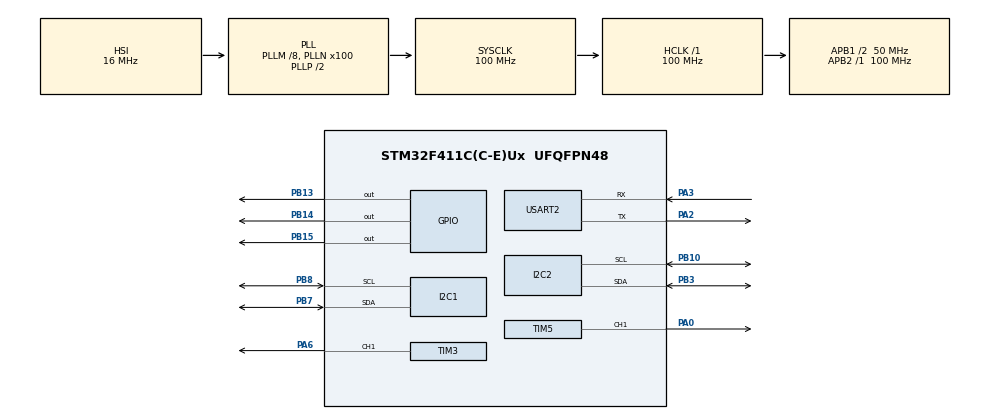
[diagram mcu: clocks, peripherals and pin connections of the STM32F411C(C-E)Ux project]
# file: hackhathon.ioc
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Mcu.Family=STM32F4
Mcu.Name=STM32F411C(C-E)Ux
Mcu.Package=UFQFPN48
NVIC.PriorityGroup=NVIC_PRIORITYGROUP_4
NVIC.TIM2_IRQn=true\:0\:0\:false\:false\:true\:true\:true\:true
PA0-WKUP.Signal=S_TIM5_CH1
PA2.Mode=Asynchronous
PA2.Signal=USART2_TX
PA3.Mode=Asynchronous
PA3.Signal=USART2_RX
PA6.Signal=S_TIM3_CH1
PB10.Mode=I2C
PB10.Signal=I2C2_SCL
PB13.Signal=GPIO_Output
PB14.Signal=GPIO_Output
PB15.Signal=GPIO_Output
PB3.Mode=I2C
PB3.Signal=I2C2_SDA
PB7.Mode=I2C
PB7.Signal=I2C1_SDA
PB8.Mode=I2C
PB8.Signal=I2C1_SCL
ProjectManager.HeapSize=0x200
ProjectManager.StackSize=0x400
ProjectManager.TargetToolchain=STM32CubeIDE
RCC.48MHZClocksFreq_Value=50000000
RCC.AHBFreq_Value=100000000
RCC.APB1CLKDivider=RCC_HCLK_DIV2
RCC.APB1Freq_Value=50000000
RCC.APB1TimFreq_Value=100000000
RCC.APB2Freq_Value=100000000
RCC.APB2TimFreq_Value=100000000
RCC.CortexFreq_Value=100000000
RCC.HCLKFreq_Value=100000000
RCC.HSE_VALUE=25000000
RCC.HSI_VALUE=16000000
RCC.LSE_VALUE=32768
RCC.PLLM=8
RCC.PLLN=100
RCC.SYSCLKFreq_VALUE=100000000
RCC.SYSCLKSource=RCC_SYSCLKSOURCE_PLLCLK
RCC.VCOOutputFreq_Value=200000000
SH.S_TIM3_CH1.0=TIM3_CH1,PWM Generation1 CH1
SH.S_TIM5_CH1.0=TIM5_CH1,PWM Generation1 CH1
TIM2.Period=124
TIM2.Prescaler=999
TIM3.Channel-PWM\ Generation1\ CH1=TIM_CHANNEL_1
TIM3.Period=20000-1
TIM3.Prescaler=49999
TIM5.Channel-PWM\ Generation1\ CH1=TIM_CHANNEL_1
TIM5.Period=19999
TIM5.Prescaler=49999
USART2.VirtualMode=VM_ASYNC
VP_TIM2_VS_ClockSourceINT.Mode=Internal
VP_TIM3_VS_ClockSourceINT.Mode=Internal
VP_TIM5_VS_ClockSourceINT.Mode=Internal
board=custom

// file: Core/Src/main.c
/* USER CODE BEGIN Header */
/**
  ******************************************************************************
  * @file           : main.c
  * @brief          : Main program body
  ******************************************************************************
  * @attention
  *
  * Copyright (c) 2024 STMicroelectronics.
  * All rights reserved.
  *
  * This software is licensed under terms that can be found in the LICENSE file
  * in the root directory of this software component.
  * If no LICENSE file comes with this software, it is provided AS-IS.
  *
  ******************************************************************************
  */
/* USER CODE END Header */
#include "main.h"

/* USER CODE BEGIN Includes */
#include "lsm303c_headers.h"
#include "VL6180X.h"

/* USER CODE END Includes */

/* USER CODE BEGIN PD */
#define ACC_ADDR  (0b0011101 << 1)

#define MAG_ADDR (0b0011110 << 1)

#define MEDIAN_FILTER_LENGTH 5
#define ACCELOMETER_THRESHOLD 6000
/* USER CODE END PD */

I2C_HandleTypeDef hi2c1;
I2C_HandleTypeDef hi2c2;

TIM_HandleTypeDef htim2;
TIM_HandleTypeDef htim3;
TIM_HandleTypeDef htim5;

UART_HandleTypeDef huart2;

/* USER CODE BEGIN PV */
volatile int16_t x_acc_val, y_acc_val, z_acc_val;
enum Skibidibi_States{
	NORMAL=1,
	FALLEN=2,
	ALARM=3,
};
static int fallen_enter_time=0;
static int current_program_time=0;
static enum Skibidibi_States STATE=NORMAL;

/* USER CODE END PV */

void SystemClock_Config(void);
static void MX_GPIO_Init(void);
static void MX_I2C1_Init(void);
static void MX_USART2_UART_Init(void);
static void MX_TIM2_Init(void);
static void MX_TIM5_Init(void);
static void MX_I2C2_Init(void);
static void MX_TIM3_Init(void);
/* USER CODE BEGIN PFP */
void read_accelerator(int16_t* x_acc, int16_t* y_acc, int16_t* z_acc);
void set_buzzer_tone(uint16_t tone);
void set_pwm_frequency(uint32_t frequency);
void set_diode_frequency(int frequency,int pwm_width);
void calculate_fall_from_acc();
/* USER CODE END PFP */

int main(void)
{

  /* MCU Configuration--------------------------------------------------------*/

  /* Reset of all peripherals, Initializes the Flash interface and the Systick. */
  HAL_Init();

  /* Configure the system clock */
  SystemClock_Config();

  /* Initialize all configured peripherals */
  MX_GPIO_Init();
  MX_I2C1_Init();
  MX_USART2_UART_Init();
  MX_TIM2_Init();
  MX_TIM5_Init();
  MX_I2C2_Init();
  MX_TIM3_Init();

  /* Infinite loop */
  /* USER CODE BEGIN WHILE */
  //start conversion
  uint8_t start_conversion_reg = 0b01100111;
  HAL_I2C_Mem_Write(&hi2c1, ACC_ADDR, LSM303C_CTRL_REG1_A, 1, &start_conversion_reg, 1, HAL_MAX_DELAY);
  //initialize distance
  VL6180X_Init(&hi2c2);
  while (1)
  {
	  HAL_Delay(50);
	  read_accelerator((int16_t*)&x_acc_val, (int16_t*)&y_acc_val, (int16_t*)&z_acc_val);
	  uint8_t msg[100];
	  uint16_t msg_len = sprintf((char*)msg, "X:%d, Y:%d, Z:%d\n\r", x_acc_val, y_acc_val, z_acc_val);
	  HAL_UART_Transmit(&huart2, (uint8_t*)msg, msg_len, 1000);
	  current_program_time=HAL_GetTick();
//	  set_diode_frequency(3,90);
//	  for( int i=0;i<100;i++){
//		  set_diode_frequency(4,i);
//		  HAL_Delay(50);
//	  }

	  calculate_fall_from_acc();
	  if (STATE==NORMAL){
		  uint16_t msg_len2 = sprintf((char*)msg, "STATE: NORMAL  \r\n");
		  HAL_UART_Transmit(&huart2, (uint8_t*)msg, msg_len2, 1000);
	  }
	  if (STATE==FALLEN){
		  uint16_t msg_len2 = sprintf((char*)msg, "STATE: FALLEN \r\n");
		  HAL_UART_Transmit(&huart2, (uint8_t*)msg, msg_len2, 1000);
	  }

	  if (STATE==ALARM){
		  uint16_t msg_len2 = sprintf((char*)msg, "STATE: ALARM \r\n");
		  HAL_UART_Transmit(&huart2, (uint8_t*)msg, msg_len2, 1000);
	  }

	  if ((STATE==FALLEN)&&((current_program_time-fallen_enter_time)>10000)){
		  STATE=ALARM;
	  }

	  if (STATE==NORMAL){
		  set_diode_frequency(1,10);
		  //set_buzzer_tone(60);
	  }

	  if (STATE==ALARM){
		  set_diode_frequency(10,50);
		  //set_buzzer_tone(60);
	  }

    /* USER CODE END WHILE */

  }
}

void SystemClock_Config(void)
{
  RCC_OscInitTypeDef RCC_OscInitStruct = {0};
  RCC_ClkInitTypeDef RCC_ClkInitStruct = {0};

  /** Configure the main internal regulator output voltage
  */
  __HAL_RCC_PWR_CLK_ENABLE();
  __HAL_PWR_VOLTAGESCALING_CONFIG(PWR_REGULATOR_VOLTAGE_SCALE1);

  /** Initializes the RCC Oscillators according to the specified parameters
  * in the RCC_OscInitTypeDef structure.
  */
  RCC_OscInitStruct.OscillatorType = RCC_OSCILLATORTYPE_HSI;
  RCC_OscInitStruct.HSIState = RCC_HSI_ON;
  RCC_OscInitStruct.HSICalibrationValue = RCC_HSICALIBRATION_DEFAULT;
  RCC_OscInitStruct.PLL.PLLState = RCC_PLL_ON;
  RCC_OscInitStruct.PLL.PLLSource = RCC_PLLSOURCE_HSI;
  RCC_OscInitStruct.PLL.PLLM = 8;
  RCC_OscInitStruct.PLL.PLLN = 100;
  RCC_OscInitStruct.PLL.PLLP = RCC_PLLP_DIV2;
  RCC_OscInitStruct.PLL.PLLQ = 4;
  if (HAL_RCC_OscConfig(&RCC_OscInitStruct) != HAL_OK)
  {
    Error_Handler();
  }

  /** Initializes the CPU, AHB and APB buses clocks
  */
  RCC_ClkInitStruct.ClockType = RCC_CLOCKTYPE_HCLK|RCC_CLOCKTYPE_SYSCLK
                              |RCC_CLOCKTYPE_PCLK1|RCC_CLOCKTYPE_PCLK2;
  RCC_ClkInitStruct.SYSCLKSource = RCC_SYSCLKSOURCE_PLLCLK;
  RCC_ClkInitStruct.AHBCLKDivider = RCC_SYSCLK_DIV1;
  RCC_ClkInitStruct.APB1CLKDivider = RCC_HCLK_DIV2;
  RCC_ClkInitStruct.APB2CLKDivider = RCC_HCLK_DIV1;

  if (HAL_RCC_ClockConfig(&RCC_ClkInitStruct, FLASH_LATENCY_3) != HAL_OK)
  {
    Error_Handler();
  }
}

static void MX_I2C1_Init(void)
{

  hi2c1.Instance = I2C1;
  hi2c1.Init.ClockSpeed = 100000;
  hi2c1.Init.DutyCycle = I2C_DUTYCYCLE_2;
  hi2c1.Init.OwnAddress1 = 0;
  hi2c1.Init.AddressingMode = I2C_ADDRESSINGMODE_7BIT;
  hi2c1.Init.DualAddressMode = I2C_DUALADDRESS_DISABLE;
  hi2c1.Init.OwnAddress2 = 0;
  hi2c1.Init.GeneralCallMode = I2C_GENERALCALL_DISABLE;
  hi2c1.Init.NoStretchMode = I2C_NOSTRETCH_DISABLE;
  if (HAL_I2C_Init(&hi2c1) != HAL_OK)
  {
    Error_Handler();
  }

}

static void MX_I2C2_Init(void)
{

  hi2c2.Instance = I2C2;
  hi2c2.Init.ClockSpeed = 100000;
  hi2c2.Init.DutyCycle = I2C_DUTYCYCLE_2;
  hi2c2.Init.OwnAddress1 = 0;
  hi2c2.Init.AddressingMode = I2C_ADDRESSINGMODE_7BIT;
  hi2c2.Init.DualAddressMode = I2C_DUALADDRESS_DISABLE;
  hi2c2.Init.OwnAddress2 = 0;
  hi2c2.Init.GeneralCallMode = I2C_GENERALCALL_DISABLE;
  hi2c2.Init.NoStretchMode = I2C_NOSTRETCH_DISABLE;
  if (HAL_I2C_Init(&hi2c2) != HAL_OK)
  {
    Error_Handler();
  }

}

static void MX_TIM2_Init(void)
{

  TIM_ClockConfigTypeDef sClockSourceConfig = {0};
  TIM_MasterConfigTypeDef sMasterConfig = {0};

  htim2.Instance = TIM2;
  htim2.Init.Prescaler = 999;
  htim2.Init.CounterMode = TIM_COUNTERMODE_UP;
  htim2.Init.Period = 124;
  htim2.Init.ClockDivision = TIM_CLOCKDIVISION_DIV1;
  htim2.Init.AutoReloadPreload = TIM_AUTORELOAD_PRELOAD_DISABLE;
  if (HAL_TIM_Base_Init(&htim2) != HAL_OK)
  {
    Error_Handler();
  }
  sClockSourceConfig.ClockSource = TIM_CLOCKSOURCE_INTERNAL;
  if (HAL_TIM_ConfigClockSource(&htim2, &sClockSourceConfig) != HAL_OK)
  {
    Error_Handler();
  }
  sMasterConfig.MasterOutputTrigger = TIM_TRGO_RESET;
  sMasterConfig.MasterSlaveMode = TIM_MASTERSLAVEMODE_DISABLE;
  if (HAL_TIMEx_MasterConfigSynchronization(&htim2, &sMasterConfig) != HAL_OK)
  {
    Error_Handler();
  }

}

static void MX_TIM3_Init(void)
{

  TIM_ClockConfigTypeDef sClockSourceConfig = {0};
  TIM_MasterConfigTypeDef sMasterConfig = {0};
  TIM_OC_InitTypeDef sConfigOC = {0};

  htim3.Instance = TIM3;
  htim3.Init.Prescaler = 49999*2;
  htim3.Init.CounterMode = TIM_COUNTERMODE_UP;
  htim3.Init.Period = 20000-1;
  htim3.Init.ClockDivision = TIM_CLOCKDIVISION_DIV1;
  htim3.Init.AutoReloadPreload = TIM_AUTORELOAD_PRELOAD_DISABLE;
  if (HAL_TIM_Base_Init(&htim3) != HAL_OK)
  {
    Error_Handler();
  }
  sClockSourceConfig.ClockSource = TIM_CLOCKSOURCE_INTERNAL;
  if (HAL_TIM_ConfigClockSource(&htim3, &sClockSourceConfig) != HAL_OK)
  {
    Error_Handler();
  }
  if (HAL_TIM_PWM_Init(&htim3) != HAL_OK)
  {
    Error_Handler();
  }
  sMasterConfig.MasterOutputTrigger = TIM_TRGO_RESET;
  sMasterConfig.MasterSlaveMode = TIM_MASTERSLAVEMODE_DISABLE;
  if (HAL_TIMEx_MasterConfigSynchronization(&htim3, &sMasterConfig) != HAL_OK)
  {
    Error_Handler();
  }
  sConfigOC.OCMode = TIM_OCMODE_PWM1;
  sConfigOC.Pulse = 0;
  sConfigOC.OCPolarity = TIM_OCPOLARITY_HIGH;
  sConfigOC.OCFastMode = TIM_OCFAST_DISABLE;
  if (HAL_TIM_PWM_ConfigChannel(&htim3, &sConfigOC, TIM_CHANNEL_1) != HAL_OK)
  {
    Error_Handler();
  }
  HAL_TIM_MspPostInit(&htim3);

}

static void MX_TIM5_Init(void)
{

  TIM_ClockConfigTypeDef sClockSourceConfig = {0};
  TIM_MasterConfigTypeDef sMasterConfig = {0};
  TIM_OC_InitTypeDef sConfigOC = {0};

  htim5.Instance = TIM5;
  htim5.Init.Prescaler = 49999;
  htim5.Init.CounterMode = TIM_COUNTERMODE_UP;
  htim5.Init.Period = 19999;
  htim5.Init.ClockDivision = TIM_CLOCKDIVISION_DIV1;
  htim5.Init.AutoReloadPreload = TIM_AUTORELOAD_PRELOAD_DISABLE;
  if (HAL_TIM_Base_Init(&htim5) != HAL_OK)
  {
    Error_Handler();
  }
  sClockSourceConfig.ClockSource = TIM_CLOCKSOURCE_INTERNAL;
  if (HAL_TIM_ConfigClockSource(&htim5, &sClockSourceConfig) != HAL_OK)
  {
    Error_Handler();
  }
  if (HAL_TIM_PWM_Init(&htim5) != HAL_OK)
  {
    Error_Handler();
  }
  sMasterConfig.MasterOutputTrigger = TIM_TRGO_RESET;
  sMasterConfig.MasterSlaveMode = TIM_MASTERSLAVEMODE_DISABLE;
  if (HAL_TIMEx_MasterConfigSynchronization(&htim5, &sMasterConfig) != HAL_OK)
  {
    Error_Handler();
  }
  sConfigOC.OCMode = TIM_OCMODE_PWM1;
  sConfigOC.Pulse = 0;
  sConfigOC.OCPolarity = TIM_OCPOLARITY_HIGH;
  sConfigOC.OCFastMode = TIM_OCFAST_DISABLE;
  if (HAL_TIM_PWM_ConfigChannel(&htim5, &sConfigOC, TIM_CHANNEL_1) != HAL_OK)
  {
    Error_Handler();
  }
  HAL_TIM_MspPostInit(&htim5);

}

static void MX_USART2_UART_Init(void)
{

  huart2.Instance = USART2;
  huart2.Init.BaudRate = 115200;
  huart2.Init.WordLength = UART_WORDLENGTH_8B;
  huart2.Init.StopBits = UART_STOPBITS_1;
  huart2.Init.Parity = UART_PARITY_NONE;
  huart2.Init.Mode = UART_MODE_TX_RX;
  huart2.Init.HwFlowCtl = UART_HWCONTROL_NONE;
  huart2.Init.OverSampling = UART_OVERSAMPLING_16;
  if (HAL_UART_Init(&huart2) != HAL_OK)
  {
    Error_Handler();
  }

}

static void MX_GPIO_Init(void)
{
  GPIO_InitTypeDef GPIO_InitStruct = {0};

  /* GPIO Ports Clock Enable */
  __HAL_RCC_GPIOA_CLK_ENABLE();
  __HAL_RCC_GPIOB_CLK_ENABLE();

  /*Configure GPIO pin Output Level */
  HAL_GPIO_WritePin(GPIOB, GPIO_PIN_13|GPIO_PIN_14|GPIO_PIN_15, GPIO_PIN_RESET);

  /*Configure GPIO pins : PB13 PB14 PB15 */
  GPIO_InitStruct.Pin = GPIO_PIN_13|GPIO_PIN_14|GPIO_PIN_15;
  GPIO_InitStruct.Mode = GPIO_MODE_OUTPUT_PP;
  GPIO_InitStruct.Pull = GPIO_NOPULL;
  GPIO_InitStruct.Speed = GPIO_SPEED_FREQ_LOW;
  HAL_GPIO_Init(GPIOB, &GPIO_InitStruct);

}

/* USER CODE BEGIN 4 */
void read_accelerator(int16_t* x_acc, int16_t* y_acc, int16_t* z_acc){
	uint8_t* x_acc_addr = (uint8_t*)x_acc;
	uint8_t* y_acc_addr = (uint8_t*)y_acc;
	uint8_t* z_acc_addr = (uint8_t*)z_acc;

	HAL_I2C_Mem_Read(&hi2c1, ACC_ADDR, LSM303C_OUT_X_L_A, 1, x_acc_addr, 1, HAL_MAX_DELAY);
	HAL_I2C_Mem_Read(&hi2c1, ACC_ADDR, LSM303C_OUT_X_H_A, 1, &(x_acc_addr[1]), 1, HAL_MAX_DELAY);

	HAL_I2C_Mem_Read(&hi2c1, ACC_ADDR, LSM303C_OUT_Y_L_A, 1, y_acc_addr, 1, HAL_MAX_DELAY);
	HAL_I2C_Mem_Read(&hi2c1, ACC_ADDR, LSM303C_OUT_Y_H_A, 1, &(y_acc_addr[1]), 1, HAL_MAX_DELAY);

	HAL_I2C_Mem_Read(&hi2c1, ACC_ADDR, LSM303C_OUT_Z_L_A, 1, z_acc_addr, 1, HAL_MAX_DELAY);
	HAL_I2C_Mem_Read(&hi2c1, ACC_ADDR, LSM303C_OUT_Z_H_A, 1, &(z_acc_addr[1]), 1, HAL_MAX_DELAY);

}

void set_buzzer_tone(uint16_t tone){
	/*
	 * Function sets the frequency of buzzer
	 * 0 turns of the buzzer, tone sets the frequency of sound
	 * for example 1 sets the frequency to 1 Hz, 5 to 5Hz etc.
	 * 100 Mhz timer is used
	 */
	if(tone==0){
		__HAL_TIM_SET_COMPARE(&htim5, TIM_CHANNEL_1, 30000);
	}
	if(tone>0){
		set_pwm_frequency(tone);
	}

}
void set_pwm_frequency(uint32_t frequency) {
    uint32_t timer_clock = 100000000; // Main timer clock frequency (100 MHz)
    uint32_t prescaler = 0;
    uint32_t auto_reload = 0;

    // Stop the timer to safely reconfigure
    HAL_TIM_PWM_Stop(&htim5, TIM_CHANNEL_1);

    // Calculate the appropriate prescaler and auto-reload value
    if (frequency > 0 && frequency <= 20000) {
        // Calculate total timer division factor needed to achieve the desired frequency
        uint32_t division_factor = timer_clock / frequency;

        // Split division factor into prescaler and ARR
        // Prescaler should be <= 65535, so limit accordingly
        prescaler = (division_factor - 1) / 20000; // Keep ARR <= 20000
        auto_reload = (division_factor / (prescaler + 1)) - 1;

        if (auto_reload > 20000) {
            auto_reload = 20000 - 1; // Limit ARR to 20000 max
        }

        // Update timer settings
        __HAL_TIM_SET_PRESCALER(&htim5, prescaler);
        __HAL_TIM_SET_AUTORELOAD(&htim5, auto_reload);

        // Set Compare value for 50% duty cycle
        __HAL_TIM_SET_COMPARE(&htim5, TIM_CHANNEL_1, (auto_reload + 1) / 2);
    }

    // Restart the timer
    HAL_TIM_PWM_Start(&htim5, TIM_CHANNEL_1);
}
void set_diode_frequency(int frequency,int pwm_width){
	/*
	 * frequency sets frequency
	 * duty length is o
	 */
	   uint32_t timer_clock = 100000000; // Main timer clock frequency (100 MHz)
	   uint32_t prescaler = 0;
	   uint32_t auto_reload = 0;

	    // Stop the timer to safely reconfigure
	    HAL_TIM_PWM_Stop(&htim3, TIM_CHANNEL_1);

	    // Calculate the appropriate prescaler and auto-reload value
	    if (frequency > 0 && frequency <= 20000) {
	        // Calculate total timer division factor needed to achieve the desired frequency
	        uint32_t division_factor = timer_clock / frequency;

	        // Split division factor into prescaler and ARR
	        // Prescaler should be <= 65535, so limit accordingly
	        prescaler = (division_factor - 1) / 20000; // Keep ARR <= 20000
	        auto_reload = (division_factor / (prescaler + 1)) - 1;

	        if (auto_reload > 20000) {
	            auto_reload = 20000 - 1; // Limit ARR to 20000 max
	        }
	        int pwm_width2=(pwm_width)*(auto_reload)/100;
	        // Update timer settings
	        __HAL_TIM_SET_PRESCALER(&htim3, prescaler);
	        __HAL_TIM_SET_AUTORELOAD(&htim3, auto_reload);

	        // Set Compare value for 50% duty cycle
	        __HAL_TIM_SET_COMPARE(&htim3, TIM_CHANNEL_1, pwm_width2);
	    }

	    // Restart the timer
	    HAL_TIM_PWM_Start(&htim3, TIM_CHANNEL_1);

}

void calculate_fall_from_acc(){

	int new_data=0;

	if (x_acc_val<0)
		new_data=-x_acc_val;

	static float median_filter_mean_X=0;
	float new_median_filter_mean_X=((MEDIAN_FILTER_LENGTH-1)*median_filter_mean_X+new_data)/MEDIAN_FILTER_LENGTH;
	float dy=new_median_filter_mean_X-median_filter_mean_X;
	if (dy>ACCELOMETER_THRESHOLD){
		STATE=FALLEN;
		if(fallen_enter_time==0)
			fallen_enter_time=HAL_GetTick();
	}

	if (y_acc_val<0)
		new_data=-y_acc_val;

	static float median_filter_mean_Y=0;
	float new_median_filter_mean_Y=((MEDIAN_FILTER_LENGTH-1)*median_filter_mean_Y+new_data)/MEDIAN_FILTER_LENGTH;
	dy=new_median_filter_mean_Y-median_filter_mean_Y;
	if (dy>ACCELOMETER_THRESHOLD){
		STATE=FALLEN;
		if(fallen_enter_time==0)
			fallen_enter_time=HAL_GetTick();
	}

	if (z_acc_val<0)
		new_data=-z_acc_val;

	static float median_filter_mean_Z=0;
	float new_median_filter_mean_Z=((MEDIAN_FILTER_LENGTH-1)*median_filter_mean_Z+new_data)/MEDIAN_FILTER_LENGTH;
	dy=new_median_filter_mean_Z-median_filter_mean_Z;
	if (dy>ACCELOMETER_THRESHOLD){
		STATE=FALLEN;
		if(fallen_enter_time==0)
			fallen_enter_time=HAL_GetTick();
	}

}

/* USER CODE END 4 */

void Error_Handler(void)
{
  __disable_irq();
  while (1)
  {
  }
}
